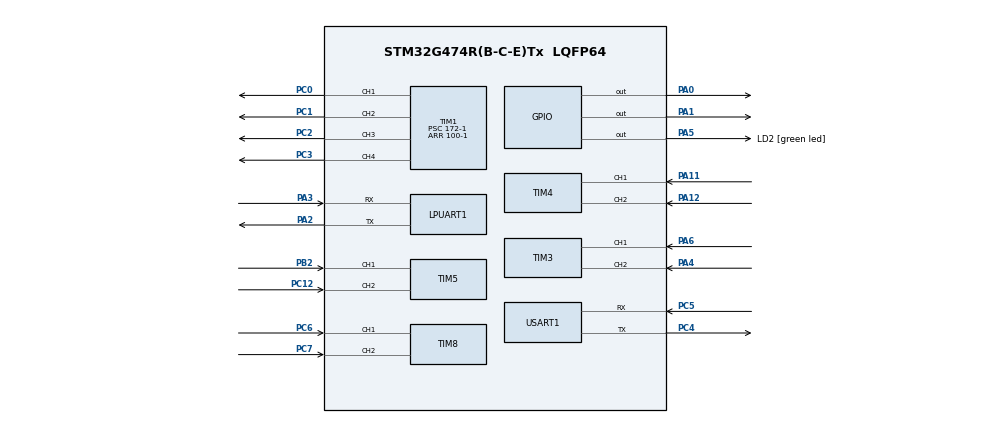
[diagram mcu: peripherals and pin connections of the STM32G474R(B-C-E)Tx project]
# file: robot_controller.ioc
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Mcu.Family=STM32G4
Mcu.Name=STM32G474R(B-C-E)Tx
Mcu.Package=LQFP64
NVIC.LPUART1_IRQn=true\:0\:0\:false\:false\:true\:true\:true\:true
NVIC.PriorityGroup=NVIC_PRIORITYGROUP_4
NVIC.TIM6_DAC_IRQn=true\:15\:0\:false\:false\:true\:false\:true\:true
NVIC.TIM7_DAC_IRQn=true\:0\:0\:false\:false\:true\:true\:true\:true
NVIC.TimeBase=TIM6_DAC_IRQn
NVIC.TimeBaseIP=TIM6
PA0.Signal=GPIO_Output
PA1.Signal=GPIO_Output
PA11.Signal=S_TIM4_CH1
PA12.Signal=S_TIM4_CH2
PA13.GPIO_Label=T_SWDIO
PA13.Mode=Serial_Wire
PA13.Signal=SYS_JTMS-SWDIO
PA14.GPIO_Label=T_SWCLK
PA14.Mode=Serial_Wire
PA14.Signal=SYS_JTCK-SWCLK
PA2.Mode=Asynchronous
PA2.Signal=LPUART1_TX
PA3.Mode=Asynchronous
PA3.Signal=LPUART1_RX
PA4.Signal=S_TIM3_CH2
PA5.GPIO_Label=LD2 [green led]
PA5.Signal=GPIO_Output
PA6.Signal=S_TIM3_CH1
PB2.Signal=S_TIM5_CH1
PB3.GPIO_Label=T_SWO
PB3.Signal=SYS_JTDO-SWO
PC0.Signal=S_TIM1_CH1
PC1.Signal=S_TIM1_CH2
PC12.Signal=S_TIM5_CH2
PC14-OSC32_IN.Mode=LSE-External-Oscillator
PC14-OSC32_IN.Signal=RCC_OSC32_IN
PC15-OSC32_OUT.Mode=LSE-External-Oscillator
PC15-OSC32_OUT.Signal=RCC_OSC32_OUT
PC2.Signal=S_TIM1_CH3
PC3.Signal=S_TIM1_CH4
PC4.Mode=Asynchronous
PC4.Signal=USART1_TX
PC5.Mode=Asynchronous
PC5.Signal=USART1_RX
PC6.Signal=S_TIM8_CH1
PC7.Signal=S_TIM8_CH2
PF0-OSC_IN.Mode=HSE-External-Oscillator
PF0-OSC_IN.Signal=RCC_OSC_IN
PF1-OSC_OUT.Mode=HSE-External-Oscillator
PF1-OSC_OUT.Signal=RCC_OSC_OUT
ProjectManager.HeapSize=0x200
ProjectManager.StackSize=0x400
ProjectManager.TargetToolchain=STM32CubeIDE
RCC.ADC12Freq_Value=170000000
RCC.ADC345Freq_Value=170000000
RCC.AHBFreq_Value=170000000
RCC.APB1Freq_Value=170000000
RCC.APB1TimFreq_Value=170000000
RCC.APB2Freq_Value=170000000
RCC.APB2TimFreq_Value=170000000
RCC.CortexFreq_Value=170000000
RCC.EXTERNAL_CLOCK_VALUE=12288000
RCC.HCLKFreq_Value=170000000
RCC.HSE_VALUE=24000000
RCC.HSI48_VALUE=48000000
RCC.HSI_VALUE=16000000
RCC.PLLM=RCC_PLLM_DIV4
RCC.PLLN=85
RCC.RTCClockSelection=RCC_RTCCLKSOURCE_LSE
RCC.SYSCLKFreq_VALUE=170000000
RCC.SYSCLKSource=RCC_SYSCLKSOURCE_PLLCLK
RCC.USBFreq_Value=170000000
RCC.VCOOutputFreq_Value=340000000
SH.S_TIM1_CH1.0=TIM1_CH1,PWM Generation1 CH1
SH.S_TIM1_CH2.0=TIM1_CH2,PWM Generation2 CH2
SH.S_TIM1_CH3.0=TIM1_CH3,PWM Generation3 CH3
SH.S_TIM1_CH4.0=TIM1_CH4,PWM Generation4 CH4
SH.S_TIM3_CH1.0=TIM3_CH1,Encoder_Interface
SH.S_TIM3_CH2.0=TIM3_CH2,Encoder_Interface
SH.S_TIM4_CH1.0=TIM4_CH1,Encoder_Interface
SH.S_TIM4_CH2.0=TIM4_CH2,Encoder_Interface
SH.S_TIM5_CH1.0=TIM5_CH1,Encoder_Interface
SH.S_TIM5_CH2.0=TIM5_CH2,Encoder_Interface
SH.S_TIM8_CH1.0=TIM8_CH1,Encoder_Interface
SH.S_TIM8_CH2.0=TIM8_CH2,Encoder_Interface
TIM1.Channel-PWM\ Generation1\ CH1=TIM_CHANNEL_1
TIM1.Channel-PWM\ Generation2\ CH2=TIM_CHANNEL_2
TIM1.Channel-PWM\ Generation3\ CH3=TIM_CHANNEL_3
TIM1.Channel-PWM\ Generation4\ CH4=TIM_CHANNEL_4
TIM1.PeriodNoDither=100-1
TIM1.Prescaler=172-1
TIM3.EncoderMode=TIM_ENCODERMODE_TI12
TIM4.AutoReloadPreload=TIM_AUTORELOAD_PRELOAD_ENABLE
TIM4.EncoderMode=TIM_ENCODERMODE_TI12
TIM4.IC1Filter=10
TIM5.EncoderMode=TIM_ENCODERMODE_TI12
TIM7.PeriodNoDither=1000
TIM7.Prescaler=170-1
TIM8.EncoderMode=TIM_ENCODERMODE_TI12
USART1.VirtualMode-Asynchronous=VM_ASYNC
VP_SYS_VS_DBSignals.Mode=DisableDeadBatterySignals
VP_SYS_VS_tim6.Mode=TIM6
VP_TIM1_VS_ClockSourceINT.Mode=Internal
VP_TIM7_VS_ClockSourceINT.Mode=Enable_Timer
board=NUCLEO-G474RE

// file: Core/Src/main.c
/* USER CODE BEGIN Header */
/**
  ******************************************************************************
  * @file           : main.c
  * @brief          : Main program body
  ******************************************************************************
  * @attention
  *
  * Copyright (c) 2024 STMicroelectronics.
  * All rights reserved.
  *
  * This software is licensed under terms that can be found in the LICENSE file
  * in the root directory of this software component.
  * If no LICENSE file comes with this software, it is provided AS-IS.
  *
  ******************************************************************************
  */

/* USER CODE BEGIN 3 */
#include <motor_driver.h>
#include <timers_configuration.h>
#include "main.h"
#include "clock_configuration.h"
#include "gpio_configuration.h"
#include "uart_configuration.h"
#include "encoder_driver.h"
#include "driving_system.h"
#include "parser_features.h"

float rotate = 0;
float speed = 0;
uint16_t timer_counter = 0;
char message[100];

//EngineInfo motor;
PIDController lb_pid_controller;
EncoderInfo lb_encoder_info;
MotorStruct lb_motor;
L298N_driver lb_L298N;
MotorState lb_motor_state;

//PIDController pid_controller;
PIDController lf_pid_controller;
EncoderInfo lf_encoder_info;
MotorStruct lf_motor;
L298N_driver lf_L298N;
MotorState lf_motor_state;

PIDController rb_pid_controller;
EncoderInfo rb_encoder_info;
MotorStruct rb_motor;
L298N_driver rb_L298N;
MotorState rb_motor_state;

PIDController rf_pid_controller;
EncoderInfo rf_encoder_info;
MotorStruct rf_motor;
L298N_driver rf_L298N;
MotorState rf_motor_state;

DrivingSystem driving_system;
DrivingSystemIface drv_system_if;

float updater_timer_periods;
uint8_t cmd_data[CMD_CODE_LENGTH + MSG_PAYLOAD_LENGTH];

uint8_t pwm_output;
uint8_t velo;
uint64_t tick;
void generate_stair_signal_pwm(void);
void generate_random_signal_velo(void);

void prepare_for_motor_ini_lb(){

	init_motor_state(&lb_motor_state, LB);
	init_encoder_info(&lb_encoder_info, &htim4);
	L298N_init(&lb_L298N, TIM_CHANNEL_1, &htim1, GPIOA, GPIO_PIN_0, GPIOA, GPIO_PIN_1);
	pid_init(&lb_pid_controller, MOTOR_Kp , MOTOR_Ki, MOTOR_Kd, MOTOR_ANTI_WINDUP);
	init_motor(&lb_motor, &lb_motor_state, &htim7, &lb_encoder_info, &lb_pid_controller, &lb_L298N);

	updater_timer_periods = CountPeriodS(lb_motor.motor_updater_tim);
}

void prepare_for_motor_ini_lf(){

	init_motor_state(&lf_motor_state, LF);
	init_encoder_info(&lf_encoder_info, &htim5);
	L298N_init(&lf_L298N, TIM_CHANNEL_2, &htim1, GPIOA, GPIO_PIN_0, GPIOA, GPIO_PIN_1);
	pid_init(&lf_pid_controller, MOTOR_Kp , MOTOR_Ki, MOTOR_Kd, MOTOR_ANTI_WINDUP);
	init_motor(&lf_motor, &lf_motor_state, &htim7, &lf_encoder_info, &lf_pid_controller, &lf_L298N);

	updater_timer_periods = CountPeriodS(lf_motor.motor_updater_tim);
}

void prepare_for_motor_ini_rb(){

	init_motor_state(&rb_motor_state, RB);
	init_encoder_info(&rb_encoder_info, &htim8);
	L298N_init(&rb_L298N, TIM_CHANNEL_3, &htim1, GPIOA, GPIO_PIN_8, GPIOA, GPIO_PIN_9);
	pid_init(&rb_pid_controller, MOTOR_Kp , MOTOR_Ki, MOTOR_Kd, MOTOR_ANTI_WINDUP);
	init_motor(&rb_motor, &rb_motor_state, &htim7, &rb_encoder_info, &rb_pid_controller, &rb_L298N);

	updater_timer_periods = CountPeriodS(lf_motor.motor_updater_tim);
}

void prepare_for_motor_ini_rf(){

	init_motor_state(&rf_motor_state, RF);
	init_encoder_info(&rf_encoder_info, &htim3);
	L298N_init(&rf_L298N, TIM_CHANNEL_4, &htim1, GPIOA, GPIO_PIN_8, GPIOA, GPIO_PIN_9);
	pid_init(&rf_pid_controller, MOTOR_Kp , MOTOR_Ki, MOTOR_Kd, MOTOR_ANTI_WINDUP);
	init_motor(&rf_motor, &rf_motor_state, &htim7, &rf_encoder_info, &rf_pid_controller, &rf_L298N);

	updater_timer_periods = CountPeriodS(rf_motor.motor_updater_tim);
}

int main(void)
{

  HAL_Init();
  SystemClock_Config();
  MX_GPIO_Init();
  MX_LPUART1_UART_Init();
  MX_USART1_UART_Init();
  MX_TIM1_Init();
  MX_TIM3_Init();
  MX_TIM4_Init();
  MX_TIM5_Init();
  MX_TIM7_Init();
  MX_TIM8_Init();

  prepare_for_motor_ini_lb();
  prepare_for_motor_ini_lf();
  prepare_for_motor_ini_rb();
  prepare_for_motor_ini_rf();

  init_driving_system(&driving_system ,&lb_motor, &lf_motor, &rb_motor, &rf_motor);
  default_init_driving_system_if(&drv_system_if);

  velo = 0;
  pwm_output = 0;
  tick = 0;

  /* USER CODE BEGIN 2 */
  HAL_TIM_Base_Start_IT(&htim7);

  HAL_TIM_PWM_Start(&htim1, TIM_CHANNEL_1);
  HAL_TIM_PWM_Start(&htim1, TIM_CHANNEL_2);
  HAL_TIM_PWM_Start(&htim1, TIM_CHANNEL_3);
  HAL_TIM_PWM_Start(&htim1, TIM_CHANNEL_4);
  HAL_TIM_Encoder_Start(&htim3, TIM_CHANNEL_ALL);
  HAL_TIM_Encoder_Start(&htim4, TIM_CHANNEL_ALL);
  HAL_TIM_Encoder_Start(&htim5, TIM_CHANNEL_ALL);
  HAL_TIM_Encoder_Start(&htim8, TIM_CHANNEL_ALL);

  /* USER CODE END 2 */

  HAL_UART_Receive_IT(&hlpuart1, cmd_data, CMD_CODE_LENGTH + MSG_PAYLOAD_LENGTH);
  /* Infinite loop */
  /* USER CODE BEGIN WHILE */
//  driving_system.velo_ctrl_flag = 1;
    while (1)
  {
//    	generate_stair_signal_pwm();
//    	generate_stair_signal();
//    	generate_random_signal_velo();
  }

}

void HAL_UART_RxCpltCallback(UART_HandleTypeDef *huart)
{

	drv_system_if.exe_cmd(&driving_system, cmd_data);
	HAL_UART_Receive_IT(&hlpuart1, cmd_data, CMD_CODE_LENGTH + MSG_PAYLOAD_LENGTH);

}

void generate_stair_signal_pwm(void){

	if(tick == 100){
		pwm_output +=20;
		tick = 0;
		if (pwm_output >= 90){
			pwm_output = 0;
		}
	}
}

void generate_random_signal_velo(void){

	if(tick == 100){
		velo +=  2;
		tick = 0;
		if (velo >= 10){
			velo = 3;
		}
	}
}

/**
  * @brief  Period elapsed callback in non blocking mode
  * @note   This function is called  when TIM6 interrupt took place, inside
  * HAL_TIM_IRQHandler(). It makes a direct call to HAL_IncTick() to increment
  * a global variable "uwTick" used as application time base.
  * @param  htim : TIM handle
  * @retval None
  */
void HAL_TIM_PeriodElapsedCallback(TIM_HandleTypeDef *htim)
{

    if (htim->Instance == (TIM_TypeDef *)lb_motor.motor_updater_tim->Instance) {

//    	update_motor_position(lb_motor.motor_state, lb_motor.encoder_info);
//    	update_measured_velocity(&lb_motor);
//    	motor_state_set_velocity(&lb_motor_state, velo);
//    	L298N_set_pwm_count(lb_motor.L298N_driver, pwm_output);

    	driving_system_drive(&driving_system);
    	tick += 1;
//    	L298N_update_pwm(lb_motor.L298N_driver, pwm_output);

    }

//  /* USER CODE END Callback 1 */
}

/**
  * @brief  This function is executed in case of error occurrence.
  * @retval None
  */
void Error_Handler(void)
{
  /* USER CODE BEGIN Error_Handler_Debug */
  /* User can add his own implementation to report the HAL error return state */
  __disable_irq();
  while (1)
  {
  }
  /* USER CODE END Error_Handler_Debug */
}

#ifdef  USE_FULL_ASSERT
/**
  * @brief  Reports the name of the source file and the source line number
  *         where the assert_param error has occurred.
  * @param  file: pointer to the source file name
  * @param  line: assert_param error line source number
  * @retval None
  */
void assert_failed(uint8_t *file, uint32_t line)
{
  /* USER CODE BEGIN 6 */
  /* User can add his own implementation to report the file name and line number,
     ex: printf("Wrong parameters value: file %s on line %d\r\n", file, line) */
  /* USER CODE END 6 */
}
#endif /* USE_FULL_ASSERT */

/* USER CODE END 3 */
